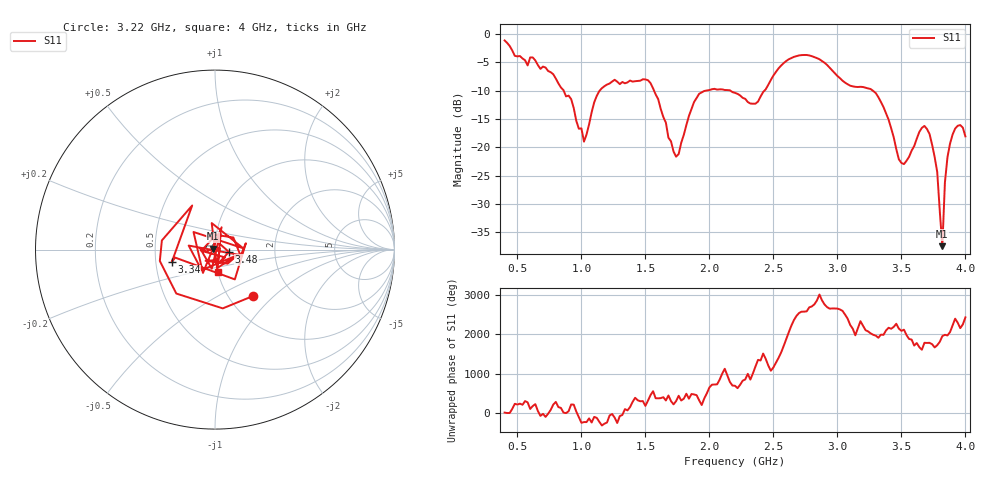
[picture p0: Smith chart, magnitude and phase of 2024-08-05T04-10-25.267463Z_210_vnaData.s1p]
!Created with skrf (http://scikit-rf.org).
# Hz S RI R 50.0
!freq ReS11 ImS11
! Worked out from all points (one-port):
!   181 points, 400 MHz to 4 GHz, reference 50 ohm
!   lowest |S11| = -37.4 dB at 3.82 GHz (marker M1), VSWR 1.03, Z = 48.8 + j0.458 ohm
!   |S11| at or under -10 dB: 861.3 MHz to 1.143 GHz (282 MHz wide, 28.1 % of centre); 1.567 GHz to 1.979 GHz (411.3 MHz wide, 23.2 % of centre); 3.276 GHz to end of sweep (the widest 3 of 4)
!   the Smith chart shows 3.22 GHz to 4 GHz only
!   S11 on the Smith chart (normalised r, x): 3.22 GHz: 1.30, -0.75; 3.34 GHz: 0.61, -0.09; 3.48 GHz: 1.17, -0.03; 4 GHz: 1.00, -0.25
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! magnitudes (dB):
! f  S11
! 400 MHz  -1.2
! 860 MHz  -9.9
! 920 MHz  -11.5
! 1.02 GHz  -19.0
! 1.14 GHz  -10.1
! 1.3 GHz  -8.9
! 1.54 GHz  -8.7
! 1.72 GHz  -20.8
! 1.76 GHz  -21.2
! 1.84 GHz  -14.5
! 1.92 GHz  -10.6
! 2.2 GHz  -10.4
! 2.36 GHz  -12.3
! 2.66 GHz  -4.1
! 2.86 GHz  -4.5
! 3.1 GHz  -9.1
! 3.22 GHz  -9.5
! 3.34 GHz  -12.0
! 3.48 GHz  -22.1
! 3.56 GHz  -21.7
! 3.66 GHz  -16.6
! 3.72 GHz  -17.7
! 3.78 GHz  -24.4
! 3.82 GHz  -37.4
! 3.84 GHz  -26.2
! 3.88 GHz  -19.4
! 3.94 GHz  -16.2
! 4 GHz  -18.1
